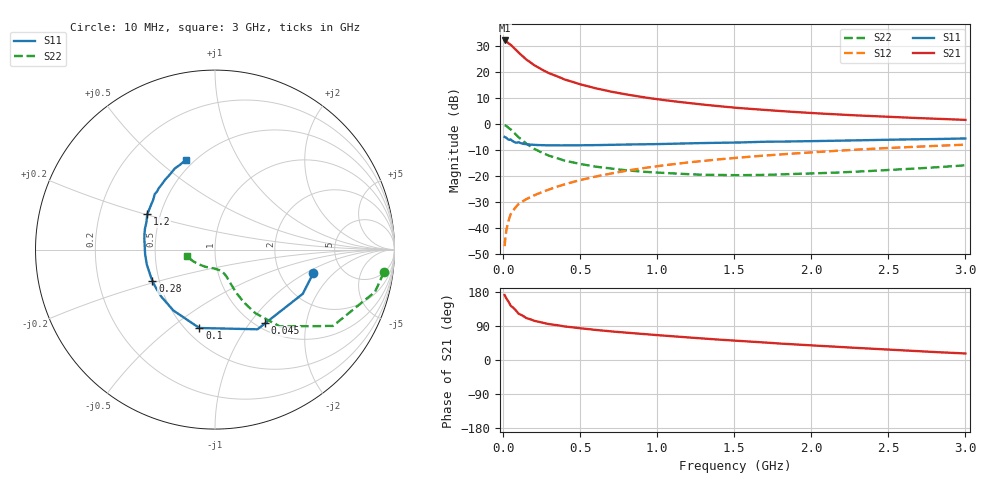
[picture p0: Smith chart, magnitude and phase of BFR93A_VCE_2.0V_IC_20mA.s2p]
! Infineon Technologies  Discrete & RF Semiconductors
! BFR93A
! VCE =  2.0 V,  IC =  20 mA
! Common Emitter S-Parameters:  Nov 2015
# GHz  S  MA  R  50
!  f  S11  S21  S12  S22
! GHz  MAG  ANG  MAG  ANG  MAG  ANG  MAG  ANG
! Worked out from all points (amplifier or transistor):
!   180 points, 10 MHz to 3 GHz, reference 50 ohm
!   highest |S21| = 32.1 dB at 10 MHz (marker M1)
!   |S21| within 3 dB of that: start of sweep to 72.04 MHz
!   unconditionally stable (mu >= 1): 393.6 MHz to end of sweep
!   at 160 MHz: K = 0.71, MSG = 26.5 dB, |S12| = -28.6 dB
!   at 1.22 GHz: K = 1.08, MAG = 9.5 dB, |S12| = -14.7 dB
!   at 3 GHz: K = 1.01, MAG = 4.2 dB, |S12| = -8.0 dB
!   S11 on the Smith chart (normalised r, x): 10 MHz: 3.07, -1.19; 45 MHz: 1.09, -1.19; 100 MHz: 0.58, -0.64; 280 MHz: 0.46, -0.19; 1.2 GHz: 0.42, +0.20; 3 GHz: 0.45, +0.63
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0.01  0.5626 -13.6  40.07 171.3  0.0045 84.0  0.9495 -7.6
0.02  0.5477 -26.7  38.87 163.3  0.0086 78.0  0.9221 -14.8
0.045  0.4968 -55.8  33.67 146.8  0.017 68.8  0.8 -29.5
0.05  0.5033 -61.9  33.03 143.0  0.0187 68.0  0.783 -32.9
0.1  0.4454 -101.3  23.43 122.3  0.0289 59.8  0.5587 -49.9
0.15  0.4109 -124.4  17.3 110.8  0.0359 59.1  0.4196 -57.6
0.2  0.3978 -138.9  13.56 103.7  0.0423 60.5  0.3356 -61.3
0.24  0.392 -147.3  11.57 99.6  0.0474 61.7  0.2923 -62.8
0.26  0.3908 -150.8  10.74 97.7  0.05 62.4  0.2741 -63.5
0.28  0.3893 -153.5  10.05 96.3  0.0527 63.0  0.2592 -63.9
0.3  0.3887 -156.3  9.368 94.6  0.0554 63.6  0.2444 -64.3
0.4  0.389 -167.7  7.119 88.5  0.0693 65.5  0.197 -65.7
0.52  0.3902 -177.7  5.58 82.9  0.0861 66.4  0.1666 -66.8
0.6  0.3919 177.3  4.843 79.4  0.0975 66.6  0.1513 -67.9
0.7  0.3979 171.9  4.174 75.5  0.1118 66.4  0.1389 -69.7
0.9  0.4075 163.2  3.285 68.9  0.1404 65.1  0.1213 -75.3
1.02  0.4111 158.4  2.932 65.0  0.157 63.8  0.1157 -79.1
1.2  0.4259 152.4  2.531 59.6  0.1821 62.0  0.1084 -87.0
1.52  0.4395 142.2  2.032 50.6  0.2244 58.2  0.1038 -102.1
2.02  0.4683 129.6  1.609 38.2  0.2876 51.8  0.1124 -125.3
2.52  0.4975 118.2  1.363 27.1  0.3475 44.8  0.1312 -146.3
3  0.5267 107.8  1.197 17.2  0.4001 38.1  0.1607 -166.4
